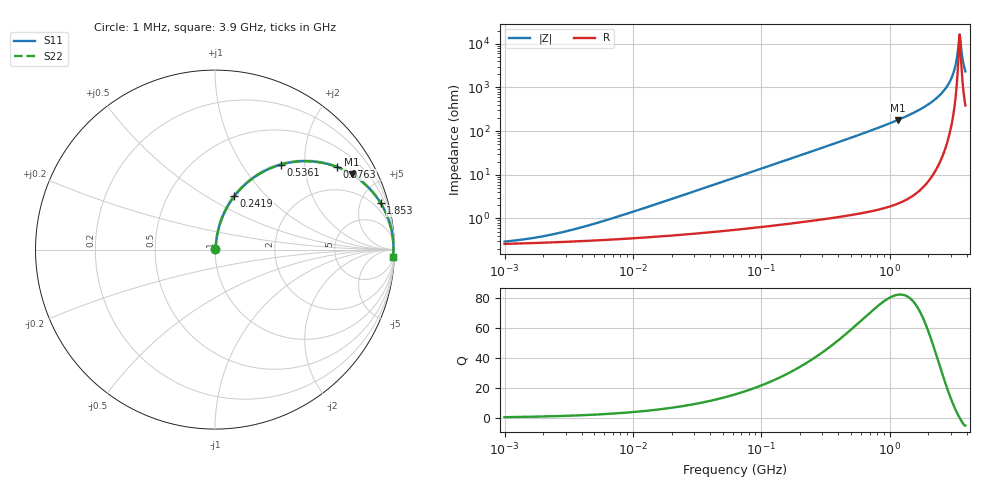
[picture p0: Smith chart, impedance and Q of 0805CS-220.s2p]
# MHz S MA R 50
!Freq  MagS11  AngS11  MagS21  AngS21  MagS12  AngS12  MagS22  AngS22
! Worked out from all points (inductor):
!   801 points, 1 MHz to 3.9 GHz, reference 50 ohm
!   read as one part in series: L = 22 nH near 7.275 MHz
!   highest Q = 82.3 at 1.164 GHz (marker M1), where L = 24.7 nH
!   self-resonance near 3.517 GHz
!   S11 on the Smith chart (normalised r, x): 1 MHz: 1.01, +0.00; 241.9 MHz: 1.02, +0.67; 536.1 MHz: 1.02, +1.52; 976.3 MHz: 1.04, +2.92; 1.853 GHz: 1.11, +7.09; 3.9 GHz: 9, -46
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1  0.002952 27.8  0.9974 -0.1  0.9974 -0.1  0.002952 27.8
1.978166  0.003893 44.3  0.9972 -0.2  0.9972 -0.2  0.003893 44.3
3.994876  0.006281 60.9  0.997 -0.3  0.997 -0.3  0.006281 60.9
15.79493  0.02208 78.7  0.9959 -1.2  0.9959 -1.2  0.02208 78.7
62.44998  0.08574 81.4  0.9909 -4.9  0.9909 -4.9  0.08574 81.4
241.8628  0.3161 70.1  0.9405 -18.4  0.9405 -18.4  0.3161 70.1
249.4799  0.325 69.6  0.9374 -19.0  0.9374 -19.0  0.325 69.6
365.6978  0.4514 62.0  0.8832 -26.8  0.8832 -26.8  0.4514 62.0
536.0547  0.5997 52.2  0.7905 -36.8  0.7905 -36.8  0.5997 52.2
976.2505  0.8206 34.1  0.5613 -55.1  0.5613 -55.1  0.8206 34.1
986.3933  0.8238 33.8  0.5567 -55.5  0.5567 -55.5  0.8238 33.8
1163.781  0.8704 28.8  0.4819 -60.5  0.4819 -60.5  0.8704 28.8
1852.972  0.9586 15.7  0.2705 -73.4  0.2705 -73.4  0.9586 15.7
2399.328  0.9831 9.1  0.1587 -79.4  0.1587 -79.4  0.9831 9.1
2860.222  0.9916 4.9  0.08527 -81.9  0.08527 -81.9  0.9916 4.9
3171.67  0.9938 2.4  0.04291 -80.4  0.04291 -80.4  0.9938 2.4
3271.557  0.994 1.7  0.03038 -77.8  0.03038 -77.8  0.994 1.7
3409.65  0.9941 0.7  0.01421 -65.1  0.01421 -65.1  0.9941 0.7
3480.867  0.994 0.3  0.007502 -36.8  0.007502 -36.8  0.994 0.3
3590.492  0.9937 -0.5  0.01027 52.0  0.01027 52.0  0.9937 -0.5
3780.925  0.9928 -1.7  0.03 75.3  0.03 75.3  0.9928 -1.7
3900  0.9921 -2.4  0.04249 78.0  0.04249 78.0  0.9921 -2.4
